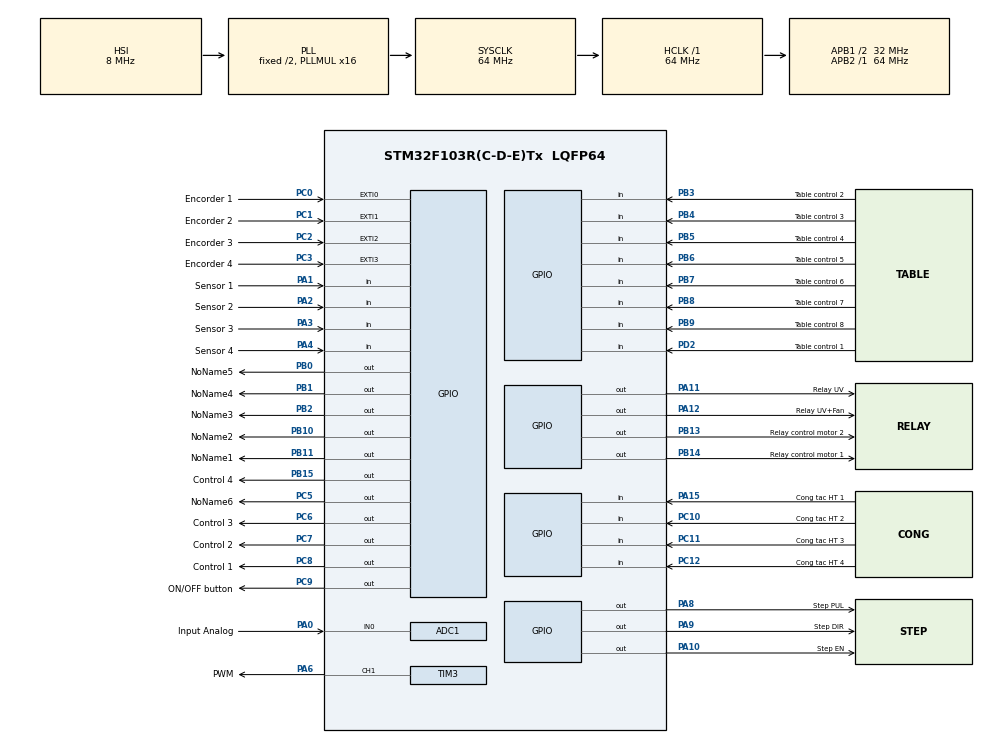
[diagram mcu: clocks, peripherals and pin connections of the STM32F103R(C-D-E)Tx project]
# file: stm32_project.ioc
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ADC1.Channel-1\#ChannelRegularConversion=ADC_CHANNEL_0
ADC1.ContinuousConvMode=DISABLE
ADC1.NbrOfConversion=1
ADC1.NbrOfConversionFlag=1
ADC1.Rank-1\#ChannelRegularConversion=1
ADC1.SamplingTime-1\#ChannelRegularConversion=ADC_SAMPLETIME_7CYCLES_5
ADC1.master=1
Mcu.Family=STM32F1
Mcu.Name=STM32F103R(C-D-E)Tx
Mcu.Package=LQFP64
NVIC.ADC1_2_IRQn=true\:0\:0\:false\:false\:true\:true\:true
NVIC.EXTI0_IRQn=true\:0\:0\:false\:false\:true\:true\:true
NVIC.EXTI1_IRQn=true\:0\:0\:false\:false\:true\:true\:true
NVIC.EXTI2_IRQn=true\:0\:0\:false\:false\:true\:true\:true
NVIC.EXTI3_IRQn=true\:0\:0\:false\:false\:true\:true\:true
NVIC.PriorityGroup=NVIC_PRIORITYGROUP_4
PA0-WKUP.GPIO_Label=Input Analog
PA0-WKUP.Signal=ADCx_IN0
PA1.GPIO_Label=Sensor 1
PA1.Signal=GPIO_Input
PA10.GPIO_Label=Step EN
PA10.GPIO_Speed=GPIO_SPEED_FREQ_HIGH
PA10.Signal=GPIO_Output
PA11.GPIO_Label=Relay UV
PA11.GPIO_Speed=GPIO_SPEED_FREQ_HIGH
PA11.Signal=GPIO_Output
PA12.GPIO_Label=Relay UV+Fan
PA12.GPIO_Speed=GPIO_SPEED_FREQ_HIGH
PA12.Signal=GPIO_Output
PA13.Mode=Serial_Wire
PA13.Signal=SYS_JTMS-SWDIO
PA14.Mode=Serial_Wire
PA14.Signal=SYS_JTCK-SWCLK
PA15.GPIO_Label=Cong tac HT 1
PA15.Signal=GPIO_Input
PA2.GPIO_Label=Sensor 2
PA2.Signal=GPIO_Input
PA3.GPIO_Label=Sensor 3
PA3.Signal=GPIO_Input
PA4.GPIO_Label=Sensor 4
PA4.Signal=GPIO_Input
PA6.GPIO_Label=PWM
PA6.Signal=S_TIM3_CH1
PA8.GPIO_Label=Step PUL
PA8.GPIO_Speed=GPIO_SPEED_FREQ_HIGH
PA8.Signal=GPIO_Output
PA9.GPIO_Label=Step DIR
PA9.GPIO_Speed=GPIO_SPEED_FREQ_HIGH
PA9.Signal=GPIO_Output
PB0.GPIO_Label=NoName5
PB0.GPIO_Speed=GPIO_SPEED_FREQ_HIGH
PB0.Signal=GPIO_Output
PB1.GPIO_Label=NoName4
PB1.GPIO_Speed=GPIO_SPEED_FREQ_HIGH
PB1.Signal=GPIO_Output
PB10.GPIO_Label=NoName2
PB10.GPIO_Speed=GPIO_SPEED_FREQ_HIGH
PB10.Signal=GPIO_Output
PB11.GPIO_Label=NoName1
PB11.GPIO_Speed=GPIO_SPEED_FREQ_HIGH
PB11.Signal=GPIO_Output
PB13.GPIO_Label=Relay control motor 2
PB13.GPIO_Speed=GPIO_SPEED_FREQ_HIGH
PB13.Signal=GPIO_Output
PB14.GPIO_Label=Relay control motor 1
PB14.GPIO_Speed=GPIO_SPEED_FREQ_HIGH
PB14.Signal=GPIO_Output
PB15.GPIO_Label=Control 4
PB15.GPIO_Speed=GPIO_SPEED_FREQ_HIGH
PB15.Signal=GPIO_Output
PB2.GPIO_Label=NoName3
PB2.GPIO_Speed=GPIO_SPEED_FREQ_HIGH
PB2.Signal=GPIO_Output
PB3.GPIO_Label=Table control 2
PB3.Signal=GPIO_Input
PB4.GPIO_Label=Table control 3
PB4.Signal=GPIO_Input
PB5.GPIO_Label=Table control 4
PB5.Signal=GPIO_Input
PB6.GPIO_Label=Table control 5
PB6.Signal=GPIO_Input
PB7.GPIO_Label=Table control 6
PB7.Signal=GPIO_Input
PB8.GPIO_Label=Table control 7
PB8.Signal=GPIO_Input
PB9.GPIO_Label=Table control 8
PB9.Signal=GPIO_Input
PC0.GPIO_Label=Encorder 1
PC0.Signal=GPXTI0
PC1.GPIO_Label=Encorder 2
PC1.Signal=GPXTI1
PC10.GPIO_Label=Cong tac HT 2
PC10.Signal=GPIO_Input
PC11.GPIO_Label=Cong tac HT 3
PC11.Signal=GPIO_Input
PC12.GPIO_Label=Cong tac HT 4
PC12.Signal=GPIO_Input
PC2.GPIO_Label=Encorder 3
PC2.Signal=GPXTI2
PC3.GPIO_Label=Encorder 4
PC3.Signal=GPXTI3
PC5.GPIO_Label=NoName6
PC5.GPIO_Speed=GPIO_SPEED_FREQ_HIGH
PC5.Signal=GPIO_Output
PC6.GPIO_Label=Control 3
PC6.GPIO_Speed=GPIO_SPEED_FREQ_HIGH
PC6.Signal=GPIO_Output
PC7.GPIO_Label=Control 2
PC7.GPIO_Speed=GPIO_SPEED_FREQ_HIGH
PC7.Signal=GPIO_Output
PC8.GPIO_Label=Control 1
PC8.GPIO_Speed=GPIO_SPEED_FREQ_HIGH
PC8.Signal=GPIO_Output
PC9.GPIO_Label=ON/OFF button
PC9.GPIO_Speed=GPIO_SPEED_FREQ_HIGH
PC9.Signal=GPIO_Output
PD2.GPIO_Label=Table control 1
PD2.Signal=GPIO_Input
ProjectManager.HeapSize=0x200
ProjectManager.StackSize=0x400
ProjectManager.TargetToolchain=MDK-ARM V5
RCC.ADCPresc=RCC_ADCPCLK2_DIV8
RCC.AHBFreq_Value=64000000
RCC.APB1CLKDivider=RCC_HCLK_DIV2
RCC.APB1Freq_Value=32000000
RCC.APB1TimFreq_Value=64000000
RCC.APB2Freq_Value=64000000
RCC.APB2TimFreq_Value=64000000
RCC.HCLKFreq_Value=64000000
RCC.PLLMUL=RCC_PLL_MUL16
RCC.SYSCLKFreq_VALUE=64000000
RCC.SYSCLKSource=RCC_SYSCLKSOURCE_PLLCLK
RCC.USBFreq_Value=64000000
SH.ADCx_IN0.0=ADC1_IN0,IN0
SH.S_TIM3_CH1.0=TIM3_CH1,PWM Generation1 CH1
TIM3.Channel-PWM\ Generation1\ CH1=TIM_CHANNEL_1
TIM3.Period=999
TIM3.Prescaler=63
VP_TIM3_VS_ClockSourceINT.Mode=Internal
board=custom

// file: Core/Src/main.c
/* USER CODE BEGIN Header */
/**
  ******************************************************************************
  * @file           : main.c
  * @brief          : Main program body
  ******************************************************************************
  * @attention
  *
  * <h2><center>&copy; Copyright (c) 2023 STMicroelectronics.
  * All rights reserved.</center></h2>
  *
  * This software component is licensed by ST under BSD 3-Clause license,
  * the "License"; You may not use this file except in compliance with the
  * License. You may obtain a copy of the License at:
  *                        opensource.org/licenses/BSD-3-Clause
  *
  ******************************************************************************
  */
/* USER CODE END Header */
#include "main.h"

/* USER CODE BEGIN PTD */
#define digitalWrite(pin_t,status) HAL_GPIO_WritePin(output_table[pin_t].type,output_table[pin_t].pin,status);
#define digitalRead(pin_t)  HAL_GPIO_ReadPin(input_table[pin_t].type,input_table[pin_t].pin)

enum output_define
{
  PIN_RELAY_FAN = 0,
  PIN_RELAY_FAN_UV,
  PIN_STEP_EN,
  PIN_STEP_DIR,
  PIN_STEP_PUL,
  PIN_ONOFF_BUTTON,
  PIN_CONTROL1,
  PIN_CONTROL2,
  PIN_CONTROL3,
  PIN_CONTROL4,
  PIN_CONTROL_MOTOR_1,
  PIN_CONTROL_MOTOR_2,
  PIN_OUTPUT_MAX
};

enum input_define
{
  PIN_SWITCH_1 = 0,
  PIN_SWITCH_2,
  PIN_SWITCH_3,
  PIN_SWITCH_4,
  PIN_TABLE_CONTROL_1,
  PIN_TABLE_CONTROL_2,
  PIN_TABLE_CONTROL_3,
  PIN_TABLE_CONTROL_4,
  PIN_TABLE_CONTROL_5,
  PIN_TABLE_CONTROL_6,
  PIN_TABLE_CONTROL_7,
  PIN_TABLE_CONTROL_8,
  PIN_SENSOR_1,
  PIN_SENSOR_2,
  PIN_SENSOR_3,
  PIN_SENSOR_4,
  PIN_INPUT_MAX
};
/* USER CODE END PTD */

/* USER CODE BEGIN PM */
typedef struct  GPIO_configs
{
  GPIO_TypeDef *type;
  uint16_t pin;
}GPIO_config;

GPIO_config output_table[PIN_OUTPUT_MAX] =
{
  {GPIOA,GPIO_PIN_12},
  {GPIOA,GPIO_PIN_11},
  {GPIOA,GPIO_PIN_10},
  {GPIOA,GPIO_PIN_9},
  {GPIOA,GPIO_PIN_8},
  {GPIOC,GPIO_PIN_9},
  {GPIOC,GPIO_PIN_8},
  {GPIOC,GPIO_PIN_7},
  {GPIOC,GPIO_PIN_6},
  {GPIOB,GPIO_PIN_15},
  {GPIOB,GPIO_PIN_14},
  {GPIOB,GPIO_PIN_13}
};

GPIO_config input_table[PIN_INPUT_MAX] =
{
  {GPIOA,GPIO_PIN_15},
  {GPIOC,GPIO_PIN_10},
  {GPIOC,GPIO_PIN_11},
  {GPIOC,GPIO_PIN_12},
  {GPIOD,GPIO_PIN_2},
  {GPIOB,GPIO_PIN_3},
  {GPIOB,GPIO_PIN_4},
  {GPIOB,GPIO_PIN_5},
  {GPIOB,GPIO_PIN_6},
  {GPIOB,GPIO_PIN_7},
  {GPIOB,GPIO_PIN_8},
  {GPIOB,GPIO_PIN_9},
  {GPIOA,GPIO_PIN_1},
  {GPIOA,GPIO_PIN_2},
  {GPIOA,GPIO_PIN_3},
  {GPIOA,GPIO_PIN_4}
};

/* USER CODE END PM */

ADC_HandleTypeDef hadc1;

TIM_HandleTypeDef htim3;

void SystemClock_Config(void);
static void MX_GPIO_Init(void);
static void MX_ADC1_Init(void);
static void MX_TIM3_Init(void);

int main(void)
{

  /* MCU Configuration--------------------------------------------------------*/

  /* Reset of all peripherals, Initializes the Flash interface and the Systick. */
  HAL_Init();

  /* Configure the system clock */
  SystemClock_Config();

  /* Initialize all configured peripherals */
  MX_GPIO_Init();
  MX_ADC1_Init();
  MX_TIM3_Init();

  /* Infinite loop */
  /* USER CODE BEGIN WHILE */
  while (1)
  {
    digitalWrite(PIN_RELAY_FAN,GPIO_PIN_SET);
    /* USER CODE END WHILE */

  }
}

void SystemClock_Config(void)
{
  RCC_OscInitTypeDef RCC_OscInitStruct = {0};
  RCC_ClkInitTypeDef RCC_ClkInitStruct = {0};
  RCC_PeriphCLKInitTypeDef PeriphClkInit = {0};

  /** Initializes the RCC Oscillators according to the specified parameters
  * in the RCC_OscInitTypeDef structure.
  */
  RCC_OscInitStruct.OscillatorType = RCC_OSCILLATORTYPE_HSI;
  RCC_OscInitStruct.HSIState = RCC_HSI_ON;
  RCC_OscInitStruct.HSICalibrationValue = RCC_HSICALIBRATION_DEFAULT;
  RCC_OscInitStruct.PLL.PLLState = RCC_PLL_ON;
  RCC_OscInitStruct.PLL.PLLSource = RCC_PLLSOURCE_HSI_DIV2;
  RCC_OscInitStruct.PLL.PLLMUL = RCC_PLL_MUL16;
  if (HAL_RCC_OscConfig(&RCC_OscInitStruct) != HAL_OK)
  {
    Error_Handler();
  }
  /** Initializes the CPU, AHB and APB buses clocks
  */
  RCC_ClkInitStruct.ClockType = RCC_CLOCKTYPE_HCLK|RCC_CLOCKTYPE_SYSCLK
                              |RCC_CLOCKTYPE_PCLK1|RCC_CLOCKTYPE_PCLK2;
  RCC_ClkInitStruct.SYSCLKSource = RCC_SYSCLKSOURCE_PLLCLK;
  RCC_ClkInitStruct.AHBCLKDivider = RCC_SYSCLK_DIV1;
  RCC_ClkInitStruct.APB1CLKDivider = RCC_HCLK_DIV2;
  RCC_ClkInitStruct.APB2CLKDivider = RCC_HCLK_DIV1;

  if (HAL_RCC_ClockConfig(&RCC_ClkInitStruct, FLASH_LATENCY_2) != HAL_OK)
  {
    Error_Handler();
  }
  PeriphClkInit.PeriphClockSelection = RCC_PERIPHCLK_ADC;
  PeriphClkInit.AdcClockSelection = RCC_ADCPCLK2_DIV8;
  if (HAL_RCCEx_PeriphCLKConfig(&PeriphClkInit) != HAL_OK)
  {
    Error_Handler();
  }
}

static void MX_ADC1_Init(void)
{

  ADC_ChannelConfTypeDef sConfig = {0};

  /** Common config
  */
  hadc1.Instance = ADC1;
  hadc1.Init.ScanConvMode = ADC_SCAN_DISABLE;
  hadc1.Init.ContinuousConvMode = DISABLE;
  hadc1.Init.DiscontinuousConvMode = DISABLE;
  hadc1.Init.ExternalTrigConv = ADC_SOFTWARE_START;
  hadc1.Init.DataAlign = ADC_DATAALIGN_RIGHT;
  hadc1.Init.NbrOfConversion = 1;
  if (HAL_ADC_Init(&hadc1) != HAL_OK)
  {
    Error_Handler();
  }
  /** Configure Regular Channel
  */
  sConfig.Channel = ADC_CHANNEL_0;
  sConfig.Rank = ADC_REGULAR_RANK_1;
  sConfig.SamplingTime = ADC_SAMPLETIME_7CYCLES_5;
  if (HAL_ADC_ConfigChannel(&hadc1, &sConfig) != HAL_OK)
  {
    Error_Handler();
  }

}

static void MX_TIM3_Init(void)
{

  TIM_ClockConfigTypeDef sClockSourceConfig = {0};
  TIM_MasterConfigTypeDef sMasterConfig = {0};
  TIM_OC_InitTypeDef sConfigOC = {0};

  htim3.Instance = TIM3;
  htim3.Init.Prescaler = 63;
  htim3.Init.CounterMode = TIM_COUNTERMODE_UP;
  htim3.Init.Period = 999;
  htim3.Init.ClockDivision = TIM_CLOCKDIVISION_DIV1;
  htim3.Init.AutoReloadPreload = TIM_AUTORELOAD_PRELOAD_DISABLE;
  if (HAL_TIM_Base_Init(&htim3) != HAL_OK)
  {
    Error_Handler();
  }
  sClockSourceConfig.ClockSource = TIM_CLOCKSOURCE_INTERNAL;
  if (HAL_TIM_ConfigClockSource(&htim3, &sClockSourceConfig) != HAL_OK)
  {
    Error_Handler();
  }
  if (HAL_TIM_PWM_Init(&htim3) != HAL_OK)
  {
    Error_Handler();
  }
  sMasterConfig.MasterOutputTrigger = TIM_TRGO_RESET;
  sMasterConfig.MasterSlaveMode = TIM_MASTERSLAVEMODE_DISABLE;
  if (HAL_TIMEx_MasterConfigSynchronization(&htim3, &sMasterConfig) != HAL_OK)
  {
    Error_Handler();
  }
  sConfigOC.OCMode = TIM_OCMODE_PWM1;
  sConfigOC.Pulse = 0;
  sConfigOC.OCPolarity = TIM_OCPOLARITY_HIGH;
  sConfigOC.OCFastMode = TIM_OCFAST_DISABLE;
  if (HAL_TIM_PWM_ConfigChannel(&htim3, &sConfigOC, TIM_CHANNEL_1) != HAL_OK)
  {
    Error_Handler();
  }
  HAL_TIM_MspPostInit(&htim3);

}

static void MX_GPIO_Init(void)
{
  GPIO_InitTypeDef GPIO_InitStruct = {0};

  /* GPIO Ports Clock Enable */
  __HAL_RCC_GPIOC_CLK_ENABLE();
  __HAL_RCC_GPIOA_CLK_ENABLE();
  __HAL_RCC_GPIOB_CLK_ENABLE();
  __HAL_RCC_GPIOD_CLK_ENABLE();

  /*Configure GPIO pin Output Level */
  HAL_GPIO_WritePin(GPIOC, NoName6_Pin|Control_3_Pin|Control_2_Pin|Control_1_Pin
                          |ON_OFF_button_Pin, GPIO_PIN_RESET);

  /*Configure GPIO pin Output Level */
  HAL_GPIO_WritePin(GPIOB, NoName5_Pin|NoName4_Pin|NoName3_Pin|NoName2_Pin
                          |NoName1_Pin|Relay_control_motor_2_Pin|Relay_control_motor_1_Pin|Control_4_Pin, GPIO_PIN_RESET);

  /*Configure GPIO pin Output Level */
  HAL_GPIO_WritePin(GPIOA, Step_PUL_Pin|Step_DIR_Pin|Step_EN_Pin|Relay_UV_Pin
                          |Relay_UV_Fan_Pin, GPIO_PIN_RESET);

  /*Configure GPIO pins : Encorder_1_Pin Encorder_2_Pin Encorder_3_Pin Encorder_4_Pin */
  GPIO_InitStruct.Pin = Encorder_1_Pin|Encorder_2_Pin|Encorder_3_Pin|Encorder_4_Pin;
  GPIO_InitStruct.Mode = GPIO_MODE_IT_RISING;
  GPIO_InitStruct.Pull = GPIO_NOPULL;
  HAL_GPIO_Init(GPIOC, &GPIO_InitStruct);

  /*Configure GPIO pins : Sensor_1_Pin Sensor_2_Pin Sensor_3_Pin Sensor_4_Pin
                           Cong_tac_HT_1_Pin */
  GPIO_InitStruct.Pin = Sensor_1_Pin|Sensor_2_Pin|Sensor_3_Pin|Sensor_4_Pin
                          |Cong_tac_HT_1_Pin;
  GPIO_InitStruct.Mode = GPIO_MODE_INPUT;
  GPIO_InitStruct.Pull = GPIO_NOPULL;
  HAL_GPIO_Init(GPIOA, &GPIO_InitStruct);

  /*Configure GPIO pins : NoName6_Pin Control_3_Pin Control_2_Pin Control_1_Pin
                           ON_OFF_button_Pin */
  GPIO_InitStruct.Pin = NoName6_Pin|Control_3_Pin|Control_2_Pin|Control_1_Pin
                          |ON_OFF_button_Pin;
  GPIO_InitStruct.Mode = GPIO_MODE_OUTPUT_PP;
  GPIO_InitStruct.Pull = GPIO_NOPULL;
  GPIO_InitStruct.Speed = GPIO_SPEED_FREQ_HIGH;
  HAL_GPIO_Init(GPIOC, &GPIO_InitStruct);

  /*Configure GPIO pins : NoName5_Pin NoName4_Pin NoName3_Pin NoName2_Pin
                           NoName1_Pin Relay_control_motor_2_Pin Relay_control_motor_1_Pin Control_4_Pin */
  GPIO_InitStruct.Pin = NoName5_Pin|NoName4_Pin|NoName3_Pin|NoName2_Pin
                          |NoName1_Pin|Relay_control_motor_2_Pin|Relay_control_motor_1_Pin|Control_4_Pin;
  GPIO_InitStruct.Mode = GPIO_MODE_OUTPUT_PP;
  GPIO_InitStruct.Pull = GPIO_NOPULL;
  GPIO_InitStruct.Speed = GPIO_SPEED_FREQ_HIGH;
  HAL_GPIO_Init(GPIOB, &GPIO_InitStruct);

  /*Configure GPIO pins : Step_PUL_Pin Step_DIR_Pin Step_EN_Pin Relay_UV_Pin
                           Relay_UV_Fan_Pin */
  GPIO_InitStruct.Pin = Step_PUL_Pin|Step_DIR_Pin|Step_EN_Pin|Relay_UV_Pin
                          |Relay_UV_Fan_Pin;
  GPIO_InitStruct.Mode = GPIO_MODE_OUTPUT_PP;
  GPIO_InitStruct.Pull = GPIO_NOPULL;
  GPIO_InitStruct.Speed = GPIO_SPEED_FREQ_HIGH;
  HAL_GPIO_Init(GPIOA, &GPIO_InitStruct);

  /*Configure GPIO pins : Cong_tac_HT_2_Pin Cong_tac_HT_3_Pin Cong_tac_HT_4_Pin */
  GPIO_InitStruct.Pin = Cong_tac_HT_2_Pin|Cong_tac_HT_3_Pin|Cong_tac_HT_4_Pin;
  GPIO_InitStruct.Mode = GPIO_MODE_INPUT;
  GPIO_InitStruct.Pull = GPIO_NOPULL;
  HAL_GPIO_Init(GPIOC, &GPIO_InitStruct);

  /*Configure GPIO pin : Table_control_1_Pin */
  GPIO_InitStruct.Pin = Table_control_1_Pin;
  GPIO_InitStruct.Mode = GPIO_MODE_INPUT;
  GPIO_InitStruct.Pull = GPIO_NOPULL;
  HAL_GPIO_Init(Table_control_1_GPIO_Port, &GPIO_InitStruct);

  /*Configure GPIO pins : Table_control_2_Pin Table_control_3_Pin Table_control_4_Pin Table_control_5_Pin
                           Table_control_6_Pin Table_control_7_Pin Table_control_8_Pin */
  GPIO_InitStruct.Pin = Table_control_2_Pin|Table_control_3_Pin|Table_control_4_Pin|Table_control_5_Pin
                          |Table_control_6_Pin|Table_control_7_Pin|Table_control_8_Pin;
  GPIO_InitStruct.Mode = GPIO_MODE_INPUT;
  GPIO_InitStruct.Pull = GPIO_NOPULL;
  HAL_GPIO_Init(GPIOB, &GPIO_InitStruct);

  /* EXTI interrupt init*/
  HAL_NVIC_SetPriority(EXTI0_IRQn, 0, 0);
  HAL_NVIC_EnableIRQ(EXTI0_IRQn);

  HAL_NVIC_SetPriority(EXTI1_IRQn, 0, 0);
  HAL_NVIC_EnableIRQ(EXTI1_IRQn);

  HAL_NVIC_SetPriority(EXTI2_IRQn, 0, 0);
  HAL_NVIC_EnableIRQ(EXTI2_IRQn);

  HAL_NVIC_SetPriority(EXTI3_IRQn, 0, 0);
  HAL_NVIC_EnableIRQ(EXTI3_IRQn);

}

void Error_Handler(void)
{
  __disable_irq();
  while (1)
  {
  }
}

/************************ (C) COPYRIGHT STMicroelectronics *****END OF FILE****/
